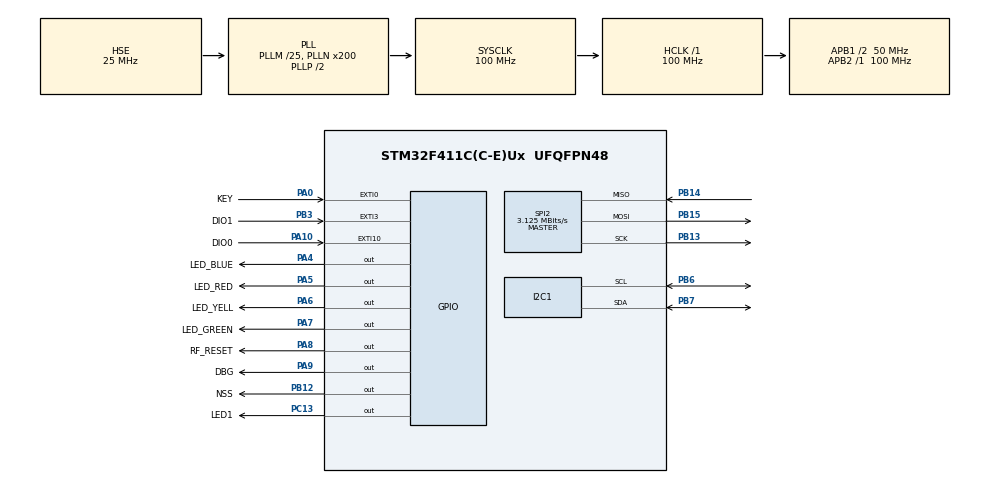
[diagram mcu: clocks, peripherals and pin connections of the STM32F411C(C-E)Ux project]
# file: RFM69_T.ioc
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Dma.Request0=SPI2_RX
Dma.Request1=SPI2_TX
Dma.SPI2_RX.0.Direction=DMA_PERIPH_TO_MEMORY
Dma.SPI2_RX.0.FIFOMode=DMA_FIFOMODE_DISABLE
Dma.SPI2_RX.0.Instance=DMA1_Stream3
Dma.SPI2_RX.0.MemDataAlignment=DMA_MDATAALIGN_BYTE
Dma.SPI2_RX.0.MemInc=DMA_MINC_ENABLE
Dma.SPI2_RX.0.Mode=DMA_NORMAL
Dma.SPI2_RX.0.PeriphDataAlignment=DMA_PDATAALIGN_BYTE
Dma.SPI2_RX.0.PeriphInc=DMA_PINC_DISABLE
Dma.SPI2_RX.0.Priority=DMA_PRIORITY_VERY_HIGH
Dma.SPI2_TX.1.Direction=DMA_MEMORY_TO_PERIPH
Dma.SPI2_TX.1.FIFOMode=DMA_FIFOMODE_DISABLE
Dma.SPI2_TX.1.Instance=DMA1_Stream4
Dma.SPI2_TX.1.MemDataAlignment=DMA_MDATAALIGN_BYTE
Dma.SPI2_TX.1.MemInc=DMA_MINC_ENABLE
Dma.SPI2_TX.1.Mode=DMA_NORMAL
Dma.SPI2_TX.1.PeriphDataAlignment=DMA_PDATAALIGN_BYTE
Dma.SPI2_TX.1.PeriphInc=DMA_PINC_DISABLE
Dma.SPI2_TX.1.Priority=DMA_PRIORITY_VERY_HIGH
FREERTOS.BinarySemaphores01=SemaphoreKEY,Dynamic,NULL;SemDIO_RF69,Static,SemDIO_RF69ControlBlock;SemTimer_RF69,Static,SemTimer_RF69ControlBlock
FREERTOS.HEAP_NUMBER=5
FREERTOS.Mutexes01=RF_Mutex,Static,RF_MutexControlBlock
FREERTOS.Queues01=QueueBufRxValid,1,uint8_t,0,Static,QueueBufRxValidBuffer,QueueBufRxValidControlBlock
FREERTOS.Tasks01=defaultTask,24,128,StartDefaultTask,Default,NULL,Static,defaultTaskBuffer,defaultTaskControlBlock;InitTask,40,512,StartInitTask,Default,NULL,Dynamic,NULL,NULL;RadioTask,24,512,StartRadioTask,Default,NULL,Static,RadioTaskBuffer,RadioTaskControlBlock;TaskKey,24,128,StartTaskKey,Default,NULL,Dynamic,NULL,NULL;TaskDIO_RF69,48,256,StartDIO_RF69,As weak,NULL,Static,DIO_RF69Buffer,DIO_RF69ControlBlock;TaskTIM_RF69,49,256,StartTaskTIM_RF69,Default,NULL,Static,TaskTIM_RF69Buffer,TaskTIM_RF69ControlBlock;TaskRF69_Recive,25,256,StartTaskRF69_Recive,As weak,NULL,Static,TaskRF69_ReciveBuffer,TaskRF69_ReciveControlBlock
I2C1.I2C_Mode=I2C_Fast
Mcu.Family=STM32F4
Mcu.Name=STM32F411C(C-E)Ux
Mcu.Package=UFQFPN48
NVIC.DMA1_Stream3_IRQn=true\:14\:0\:true\:false\:true\:true\:false\:true
NVIC.DMA1_Stream4_IRQn=true\:14\:0\:true\:false\:true\:true\:false\:true
NVIC.EXTI0_IRQn=true\:6\:0\:true\:false\:true\:true\:true\:true
NVIC.EXTI15_10_IRQn=true\:12\:0\:true\:false\:true\:true\:true\:true
NVIC.EXTI3_IRQn=true\:12\:0\:true\:false\:true\:true\:true\:true
NVIC.PriorityGroup=NVIC_PRIORITYGROUP_4
NVIC.SPI2_IRQn=true\:13\:0\:true\:false\:true\:true\:true\:true
NVIC.TIM1_TRG_COM_TIM11_IRQn=true\:0\:0\:false\:false\:true\:false\:false\:true
NVIC.TIM1_UP_TIM10_IRQn=true\:10\:0\:true\:false\:true\:true\:true\:true
NVIC.TimeBase=TIM1_TRG_COM_TIM11_IRQn
NVIC.TimeBaseIP=TIM11
PA0-WKUP.GPIO_Label=KEY
PA0-WKUP.GPIO_ModeDefaultEXTI=GPIO_MODE_IT_RISING_FALLING
PA0-WKUP.GPIO_PuPd=GPIO_PULLUP
PA0-WKUP.Signal=GPXTI0
PA10.GPIO_Label=DIO0
PA10.GPIO_PuPd=GPIO_PULLDOWN
PA10.Signal=GPXTI10
PA13.Mode=Serial_Wire
PA13.Signal=SYS_JTMS-SWDIO
PA14.Mode=Serial_Wire
PA14.Signal=SYS_JTCK-SWCLK
PA4.GPIO_Label=LED_BLUE
PA4.GPIO_ModeDefaultOutputPP=GPIO_MODE_OUTPUT_OD
PA4.GPIO_Speed=GPIO_SPEED_FREQ_LOW
PA4.PinState=GPIO_PIN_SET
PA4.Signal=GPIO_Output
PA5.GPIO_Label=LED_RED
PA5.GPIO_ModeDefaultOutputPP=GPIO_MODE_OUTPUT_OD
PA5.GPIO_Speed=GPIO_SPEED_FREQ_LOW
PA5.PinState=GPIO_PIN_SET
PA5.Signal=GPIO_Output
PA6.GPIO_Label=LED_YELL
PA6.GPIO_ModeDefaultOutputPP=GPIO_MODE_OUTPUT_OD
PA6.GPIO_Speed=GPIO_SPEED_FREQ_LOW
PA6.PinState=GPIO_PIN_SET
PA6.Signal=GPIO_Output
PA7.GPIO_Label=LED_GREEN
PA7.GPIO_ModeDefaultOutputPP=GPIO_MODE_OUTPUT_OD
PA7.PinState=GPIO_PIN_SET
PA7.Signal=GPIO_Output
PA8.GPIO_Label=RF_RESET
PA8.GPIO_Speed=GPIO_SPEED_FREQ_VERY_HIGH
PA8.Signal=GPIO_Output
PA9.GPIO_Label=DBG
PA9.GPIO_Speed=GPIO_SPEED_FREQ_VERY_HIGH
PA9.PinState=GPIO_PIN_RESET
PA9.Signal=GPIO_Output
PB12.GPIO_Label=NSS
PB12.GPIO_Speed=GPIO_SPEED_FREQ_VERY_HIGH
PB12.PinState=GPIO_PIN_SET
PB12.Signal=GPIO_Output
PB13.Mode=Full_Duplex_Master
PB13.Signal=SPI2_SCK
PB14.Mode=Full_Duplex_Master
PB14.Signal=SPI2_MISO
PB15.Mode=Full_Duplex_Master
PB15.Signal=SPI2_MOSI
PB3.GPIO_Label=DIO1
PB3.GPIO_ModeDefaultEXTI=GPIO_MODE_IT_RISING_FALLING
PB3.GPIO_PuPd=GPIO_PULLDOWN
PB3.Signal=GPXTI3
PB6.GPIO_Pu=GPIO_PULLUP
PB6.Mode=I2C
PB6.Signal=I2C1_SCL
PB7.GPIO_Pu=GPIO_PULLUP
PB7.Mode=I2C
PB7.Signal=I2C1_SDA
PC13-ANTI_TAMP.GPIO_Label=LED1
PC13-ANTI_TAMP.GPIO_ModeDefaultOutputPP=GPIO_MODE_OUTPUT_OD
PC13-ANTI_TAMP.PinState=GPIO_PIN_SET
PC13-ANTI_TAMP.Signal=GPIO_Output
PC14-OSC32_IN.Mode=LSE-External-Oscillator
PC14-OSC32_IN.Signal=RCC_OSC32_IN
PC15-OSC32_OUT.Mode=LSE-External-Oscillator
PC15-OSC32_OUT.Signal=RCC_OSC32_OUT
PH0\ -\ OSC_IN.Mode=HSE-External-Oscillator
PH0\ -\ OSC_IN.Signal=RCC_OSC_IN
PH1\ -\ OSC_OUT.Mode=HSE-External-Oscillator
PH1\ -\ OSC_OUT.Signal=RCC_OSC_OUT
ProjectManager.HeapSize=0x200
ProjectManager.StackSize=0x400
ProjectManager.TargetToolchain=MDK-ARM V5.27
RCC.48MHZClocksFreq_Value=50000000
RCC.AHBFreq_Value=100000000
RCC.APB1CLKDivider=RCC_HCLK_DIV2
RCC.APB1Freq_Value=50000000
RCC.APB1TimFreq_Value=100000000
RCC.APB2Freq_Value=100000000
RCC.APB2TimFreq_Value=100000000
RCC.CortexFreq_Value=100000000
RCC.HCLKFreq_Value=100000000
RCC.HSE_VALUE=25000000
RCC.HSI_VALUE=16000000
RCC.PLLM=25
RCC.PLLN=200
RCC.PLLSourceVirtual=RCC_PLLSOURCE_HSE
RCC.SYSCLKFreq_VALUE=100000000
RCC.SYSCLKSource=RCC_SYSCLKSOURCE_PLLCLK
RCC.VCOOutputFreq_Value=200000000
RTC.Format=RTC_FORMAT_BCD
RTC.Hours=20
RTC.Minutes=20
RTC.Seconds=34
SPI2.BaudRatePrescaler=SPI_BAUDRATEPRESCALER_16
SPI2.CalculateBaudRate=3.125 MBits/s
SPI2.Direction=SPI_DIRECTION_2LINES
SPI2.Mode=SPI_MODE_MASTER
SPI2.VirtualType=VM_MASTER
TIM10.AutoReloadPreload=TIM_AUTORELOAD_PRELOAD_ENABLE
TIM10.Period=9999
TIM10.Prescaler=999
VP_CRC_VS_CRC.Mode=CRC_Activate
VP_FREERTOS_VS_CMSIS_V2.Mode=CMSIS_V2
VP_RTC_VS_RTC_Activate.Mode=RTC_Enabled
VP_RTC_VS_RTC_Calendar.Mode=RTC_Calendar
VP_SYS_VS_tim11.Mode=TIM11
VP_TIM10_VS_ClockSourceINT.Mode=Enable_Timer
VP_TIM10_VS_OPM.Mode=OPM_bit
board=custom

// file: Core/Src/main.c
/* USER CODE BEGIN Header */
/**
  ******************************************************************************
  * @file           : main.c
  * @brief          : Main program body
  ******************************************************************************
  * @attention
  *
  * <h2><center>&copy; Copyright (c) 2021 STMicroelectronics.
  * All rights reserved.</center></h2>
  *
  * This software component is licensed by ST under Ultimate Liberty license
  * SLA0044, the "License"; You may not use this file except in compliance with
  * the License. You may obtain a copy of the License at:
  *                             www.st.com/SLA0044
  *
  ******************************************************************************
  */
/* USER CODE END Header */
#include "main.h"
#include "cmsis_os.h"
#include "crc.h"
#include "dma.h"
#include "i2c.h"
#include "rtc.h"
#include "spi.h"
#include "tim.h"
#include "gpio.h"

/* USER CODE BEGIN Includes */
#include "RFM69_Config.h"
#include "RFM69_.h"
/* USER CODE END Includes */

/* USER CODE BEGIN PV */
extern SPI_HandleTypeDef _SPI_HANDLE;
extern DMA_HandleTypeDef _SPI_DMA_RX_HANDLE;
extern DMA_HandleTypeDef _SPI_DMA_TX_HANDLE;
extern TIM_HandleTypeDef _TIMER_WATCH_HANDLE;
extern DMA_HandleTypeDef hdma_spi2_rx;
extern void TIM_IRQHandler(TIM_HandleTypeDef *htim);
/* USER CODE END PV */

void SystemClock_Config(void);
void MX_FREERTOS_Init(void);

int main(void)
{

  /* MCU Configuration--------------------------------------------------------*/

  /* Reset of all peripherals, Initializes the Flash interface and the Systick. */
  HAL_Init();

  /* Configure the system clock */
  SystemClock_Config();

  /* Initialize all configured peripherals */
  MX_GPIO_Init();
  MX_DMA_Init();
  MX_CRC_Init();
  MX_RTC_Init();
  MX_SPI2_Init();
  MX_TIM10_Init();
  MX_I2C1_Init();

  /* Init scheduler */
  osKernelInitialize();  /* Call init function for freertos objects (in freertos.c) */
  MX_FREERTOS_Init();
  /* Start scheduler */
  osKernelStart();

  /* We should never get here as control is now taken by the scheduler */
  /* Infinite loop */
  while (1)
  {

  }
}

void SystemClock_Config(void)
{
  RCC_OscInitTypeDef RCC_OscInitStruct = {0};
  RCC_ClkInitTypeDef RCC_ClkInitStruct = {0};

  /** Configure the main internal regulator output voltage
  */
  __HAL_RCC_PWR_CLK_ENABLE();
  __HAL_PWR_VOLTAGESCALING_CONFIG(PWR_REGULATOR_VOLTAGE_SCALE1);
  /** Initializes the RCC Oscillators according to the specified parameters
  * in the RCC_OscInitTypeDef structure.
  */
  RCC_OscInitStruct.OscillatorType = RCC_OSCILLATORTYPE_LSI|RCC_OSCILLATORTYPE_HSE;
  RCC_OscInitStruct.HSEState = RCC_HSE_ON;
  RCC_OscInitStruct.LSIState = RCC_LSI_ON;
  RCC_OscInitStruct.PLL.PLLState = RCC_PLL_ON;
  RCC_OscInitStruct.PLL.PLLSource = RCC_PLLSOURCE_HSE;
  RCC_OscInitStruct.PLL.PLLM = 25;
  RCC_OscInitStruct.PLL.PLLN = 200;
  RCC_OscInitStruct.PLL.PLLP = RCC_PLLP_DIV2;
  RCC_OscInitStruct.PLL.PLLQ = 4;
  if (HAL_RCC_OscConfig(&RCC_OscInitStruct) != HAL_OK)
  {
    Error_Handler();
  }
  /** Initializes the CPU, AHB and APB buses clocks
  */
  RCC_ClkInitStruct.ClockType = RCC_CLOCKTYPE_HCLK|RCC_CLOCKTYPE_SYSCLK
                              |RCC_CLOCKTYPE_PCLK1|RCC_CLOCKTYPE_PCLK2;
  RCC_ClkInitStruct.SYSCLKSource = RCC_SYSCLKSOURCE_PLLCLK;
  RCC_ClkInitStruct.AHBCLKDivider = RCC_SYSCLK_DIV1;
  RCC_ClkInitStruct.APB1CLKDivider = RCC_HCLK_DIV2;
  RCC_ClkInitStruct.APB2CLKDivider = RCC_HCLK_DIV1;

  if (HAL_RCC_ClockConfig(&RCC_ClkInitStruct, FLASH_LATENCY_3) != HAL_OK)
  {
    Error_Handler();
  }
}

void HAL_TIM_PeriodElapsedCallback(TIM_HandleTypeDef *htim)
{
  /* USER CODE BEGIN Callback 0 */
	if(htim->Instance == _TIMER_WATCH_HANDLE.Instance)
	{
		TIM_IRQHandler(htim);
//		RF69_CallbackWatchTimer();
	}

  /* USER CODE END Callback 0 */
  if (htim->Instance == TIM11) {
    HAL_IncTick();
  }
}

void Error_Handler(void)
{
  /* USER CODE BEGIN Error_Handler_Debug */
  /* User can add his own implementation to report the HAL error return state */
  __disable_irq();
  while (1)
  {
//	  printf("Wrong parameters value: file %s on line %d\r\n", "file", 1) ;
  }
  /* USER CODE END Error_Handler_Debug */
}

/************************ (C) COPYRIGHT STMicroelectronics *****END OF FILE****/

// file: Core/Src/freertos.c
/* USER CODE BEGIN Header */
/**
	******************************************************************************
	* File Name          : freertos.c
	* Description        : Code for freertos applications
	******************************************************************************
	* @attention
	*
	* <h2><center>&copy; Copyright (c) 2021 STMicroelectronics.
	* All rights reserved.</center></h2>
	*
	* This software component is licensed by ST under Ultimate Liberty license
	* SLA0044, the "License"; You may not use this file except in compliance with
	* the License. You may obtain a copy of the License at:
	*                             www.st.com/SLA0044
	*
	******************************************************************************
	*/
//
/* USER CODE END Header */

#include "FreeRTOS.h"
#include "task.h"
#include "main.h"
#include "cmsis_os.h"

/* USER CODE BEGIN Includes */
#include <string.h>
#include <queue.h>
#include <semphr.h>

#include "MyAppConfig.h"
#include "RFM69_Config.h"
#include <stm32f4xx_hal_dma.h>
#include "RFM69_.h"
#include "RF69_ACK.h"
#include "RND_GEN.h"
#include "AES_GEN.h"
#include "AES_KEY.h"
#include "TIMER_C.h"
#include "ssd1306.h"
#include "RFM69_FreeRTOS.h"
/* USER CODE END Includes */

typedef StaticTask_t osStaticThreadDef_t;
typedef StaticQueue_t osStaticMessageQDef_t;
typedef StaticSemaphore_t osStaticMutexDef_t;
typedef StaticSemaphore_t osStaticSemaphoreDef_t;

/* USER CODE BEGIN Variables */
/******************************************************************************/

volatile static uint32_t _good = 0;
volatile static uint32_t _bad = 0;
volatile static uint32_t _all = 0;
volatile static float _percent = 0;
//volatile static uint16_t _DioPin = 0;
volatile static bool _BufferRX_Valid = false;
/******************************************************************************/
//extern bool _rxBufValid;
/******************************************************************************/

#if _APP_MODE == 1U //Fixed Packet
extern const uint8_t _LMessage[256];
uint8_t buf[RF69_MAX_FIFO_LENGHT];
#endif
#if _APP_MODE == 2U //Var Packet
extern const uint8_t _LMessage[256];
uint8_t buf[256];
#endif
#if _APP_MODE == 3U //Unlim Packet
extern const uint8_t  _UMessage[512];
uint8_t buf[512];
#endif
#if _APP_MODE == 4U //Fixed Packet with ACK
extern const uint8_t _LMessage[256];
uint8_t buf[RF69_MAX_FIFO_LENGHT];
#endif
#if _APP_MODE == 5U //Var Packet with ACK
extern const uint8_t _LMessage[256];
uint8_t buf[256];
#endif
#if _APP_MODE == 6U //Unlim Packet with ACK
extern const uint8_t  _UMessage[512];
uint8_t buf[512];

volatile static uint8_t EncryptMessage[PLAINTEXT_LENGTH];
volatile static uint8_t OutputMessage[PLAINTEXT_LENGTH];
volatile static uint32_t OutputMessageLength = 0;

extern SPI_HandleTypeDef _SPI_HANDLE;
extern DMA_HandleTypeDef _SPI_DMA_RX_HANDLE;
extern DMA_HandleTypeDef _SPI_DMA_TX_HANDLE;
extern TIM_HandleTypeDef _TIMER_WATCH_HANDLE;
extern DMA_HandleTypeDef hdma_spi2_rx;
#endif

/* USER CODE END Variables */
/* Definitions for defaultTask */
osThreadId_t defaultTaskHandle;
uint32_t defaultTaskBuffer[ 128 ];
osStaticThreadDef_t defaultTaskControlBlock;
const osThreadAttr_t defaultTask_attributes = {
  .name = "defaultTask",
  .cb_mem = &defaultTaskControlBlock,
  .cb_size = sizeof(defaultTaskControlBlock),
  .stack_mem = &defaultTaskBuffer[0],
  .stack_size = sizeof(defaultTaskBuffer),
  .priority = (osPriority_t) osPriorityNormal,
};
/* Definitions for InitTask */
osThreadId_t InitTaskHandle;
const osThreadAttr_t InitTask_attributes = {
  .name = "InitTask",
  .stack_size = 512 * 4,
  .priority = (osPriority_t) osPriorityHigh,
};
/* Definitions for RadioTask */
osThreadId_t RadioTaskHandle;
uint32_t RadioTaskBuffer[ 512 ];
osStaticThreadDef_t RadioTaskControlBlock;
const osThreadAttr_t RadioTask_attributes = {
  .name = "RadioTask",
  .cb_mem = &RadioTaskControlBlock,
  .cb_size = sizeof(RadioTaskControlBlock),
  .stack_mem = &RadioTaskBuffer[0],
  .stack_size = sizeof(RadioTaskBuffer),
  .priority = (osPriority_t) osPriorityNormal,
};
/* Definitions for TaskKey */
osThreadId_t TaskKeyHandle;
const osThreadAttr_t TaskKey_attributes = {
  .name = "TaskKey",
  .stack_size = 128 * 4,
  .priority = (osPriority_t) osPriorityNormal,
};
/* Definitions for TaskDIO_RF69 */
osThreadId_t TaskDIO_RF69Handle;
uint32_t DIO_RF69Buffer[ 256 ];
osStaticThreadDef_t DIO_RF69ControlBlock;
const osThreadAttr_t TaskDIO_RF69_attributes = {
  .name = "TaskDIO_RF69",
  .cb_mem = &DIO_RF69ControlBlock,
  .cb_size = sizeof(DIO_RF69ControlBlock),
  .stack_mem = &DIO_RF69Buffer[0],
  .stack_size = sizeof(DIO_RF69Buffer),
  .priority = (osPriority_t) osPriorityRealtime,
};
/* Definitions for TaskTIM_RF69 */
osThreadId_t TaskTIM_RF69Handle;
uint32_t TaskTIM_RF69Buffer[ 256 ];
osStaticThreadDef_t TaskTIM_RF69ControlBlock;
const osThreadAttr_t TaskTIM_RF69_attributes = {
  .name = "TaskTIM_RF69",
  .cb_mem = &TaskTIM_RF69ControlBlock,
  .cb_size = sizeof(TaskTIM_RF69ControlBlock),
  .stack_mem = &TaskTIM_RF69Buffer[0],
  .stack_size = sizeof(TaskTIM_RF69Buffer),
  .priority = (osPriority_t) osPriorityRealtime1,
};
/* Definitions for TaskRF69_Recive */
osThreadId_t TaskRF69_ReciveHandle;
uint32_t TaskRF69_ReciveBuffer[ 256 ];
osStaticThreadDef_t TaskRF69_ReciveControlBlock;
const osThreadAttr_t TaskRF69_Recive_attributes = {
  .name = "TaskRF69_Recive",
  .cb_mem = &TaskRF69_ReciveControlBlock,
  .cb_size = sizeof(TaskRF69_ReciveControlBlock),
  .stack_mem = &TaskRF69_ReciveBuffer[0],
  .stack_size = sizeof(TaskRF69_ReciveBuffer),
  .priority = (osPriority_t) osPriorityNormal1,
};
/* Definitions for QueueBufRxValid */
osMessageQueueId_t QueueBufRxValidHandle;
uint8_t QueueBufRxValidBuffer[ 1 * sizeof( uint8_t ) ];
osStaticMessageQDef_t QueueBufRxValidControlBlock;
const osMessageQueueAttr_t QueueBufRxValid_attributes = {
  .name = "QueueBufRxValid",
  .cb_mem = &QueueBufRxValidControlBlock,
  .cb_size = sizeof(QueueBufRxValidControlBlock),
  .mq_mem = &QueueBufRxValidBuffer,
  .mq_size = sizeof(QueueBufRxValidBuffer)
};
/* Definitions for RF_Mutex */
osMutexId_t RF_MutexHandle;
osStaticMutexDef_t RF_MutexControlBlock;
const osMutexAttr_t RF_Mutex_attributes = {
  .name = "RF_Mutex",
  .cb_mem = &RF_MutexControlBlock,
  .cb_size = sizeof(RF_MutexControlBlock),
};
/* Definitions for SemaphoreKEY */
osSemaphoreId_t SemaphoreKEYHandle;
const osSemaphoreAttr_t SemaphoreKEY_attributes = {
  .name = "SemaphoreKEY"
};
/* Definitions for SemDIO_RF69 */
osSemaphoreId_t SemDIO_RF69Handle;
osStaticSemaphoreDef_t SemDIO_RF69ControlBlock;
const osSemaphoreAttr_t SemDIO_RF69_attributes = {
  .name = "SemDIO_RF69",
  .cb_mem = &SemDIO_RF69ControlBlock,
  .cb_size = sizeof(SemDIO_RF69ControlBlock),
};
/* Definitions for SemTimer_RF69 */
osSemaphoreId_t SemTimer_RF69Handle;
osStaticSemaphoreDef_t SemTimer_RF69ControlBlock;
const osSemaphoreAttr_t SemTimer_RF69_attributes = {
  .name = "SemTimer_RF69",
  .cb_mem = &SemTimer_RF69ControlBlock,
  .cb_size = sizeof(SemTimer_RF69ControlBlock),
};

/* USER CODE BEGIN FunctionPrototypes */
void PrintText(uint8_t* pBuf, uint8_t lenght);
//void EXTI0_IRQHandler(void);
void TIM_IRQHandler(TIM_HandleTypeDef *htim);
/* USER CODE END FunctionPrototypes */

void StartDefaultTask(void *argument);
void StartInitTask(void *argument);
void StartRadioTask(void *argument);
void StartTaskKey(void *argument);
void StartDIO_RF69(void *argument);
void StartTaskTIM_RF69(void *argument);
void StartTaskRF69_Recive(void *argument);

void MX_FREERTOS_Init(void); /* (MISRA C 2004 rule 8.1) */

void MX_FREERTOS_Init(void) {
  /* Create the mutex(es) */
  /* creation of RF_Mutex */
  RF_MutexHandle = osMutexNew(&RF_Mutex_attributes);

  /* Create the semaphores(s) */
  /* creation of SemaphoreKEY */
  SemaphoreKEYHandle = osSemaphoreNew(1, 1, &SemaphoreKEY_attributes);

  /* creation of SemDIO_RF69 */
  SemDIO_RF69Handle = osSemaphoreNew(1, 1, &SemDIO_RF69_attributes);

  /* creation of SemTimer_RF69 */
  SemTimer_RF69Handle = osSemaphoreNew(1, 1, &SemTimer_RF69_attributes);

  /* Create the queue(s) */
  /* creation of QueueBufRxValid */
  QueueBufRxValidHandle = osMessageQueueNew (1, sizeof(uint8_t), &QueueBufRxValid_attributes);

  /* Create the thread(s) */
  /* creation of defaultTask */
  defaultTaskHandle = osThreadNew(StartDefaultTask, NULL, &defaultTask_attributes);

  /* creation of InitTask */
  InitTaskHandle = osThreadNew(StartInitTask, NULL, &InitTask_attributes);

  /* creation of RadioTask */
  RadioTaskHandle = osThreadNew(StartRadioTask, NULL, &RadioTask_attributes);

  /* creation of TaskKey */
  TaskKeyHandle = osThreadNew(StartTaskKey, NULL, &TaskKey_attributes);

  /* creation of TaskDIO_RF69 */
  TaskDIO_RF69Handle = osThreadNew(StartDIO_RF69, NULL, &TaskDIO_RF69_attributes);

  /* creation of TaskTIM_RF69 */
  TaskTIM_RF69Handle = osThreadNew(StartTaskTIM_RF69, NULL, &TaskTIM_RF69_attributes);

  /* creation of TaskRF69_Recive */
  TaskRF69_ReciveHandle = osThreadNew(StartTaskRF69_Recive, NULL, &TaskRF69_Recive_attributes);

}

void StartDefaultTask(void *argument)
{
  /* USER CODE BEGIN StartDefaultTask */
	/* Infinite loop */
	for(;;)
	{
		vTaskDelay(1);
	}
  /* USER CODE END StartDefaultTask */
}

void StartInitTask(void *argument)
{
  /* USER CODE BEGIN StartInitTask */
  /* Infinite loop */
	osMutexWait(RF_MutexHandle, osWaitForever);
	RF69_Init();
	InitRND();

	osMutexRelease(RF_MutexHandle);
	AES_CTR_Set_Key(AK_Key128, CRL_AES128_KEY);
	 vTaskDelete(InitTaskHandle);
  /* USER CODE END StartInitTask */
}

void StartRadioTask(void *argument)
{
  /* USER CODE BEGIN StartRadioTask */
	/* Infinite loop */

	volatile static bool _flag= 0;
	for(;;)
	{
		osMutexWait(RF_MutexHandle, osWaitForever);
#if _APP_MODE == 1U //Fixed Packet
		RF69_PacketMode(_PACKET_FIXED);
		_flag = RF69_Send ((uint8_t*)_LMessage, 28);
		_all++;
		if(_flag)
		{
			LED_GREEN_ON;
			_good++;
		}
		else
		{
			LED_RED_ON;
			_bad;
		}
		_percent = _bad/((float)_all/100);

#endif
#if _APP_MODE == 2U //Variable Packet
//		_flag = RF69_WaitAvailableTimeout(100);
		const  uint8_t size = 253;
		_all++;
		RF69_PacketMode(_PACKET_VARIABLE);
		RF69_SendVariablePacket ((uint8_t*)_LMessage, size);
		if(_flag)
		{
			LED_GREEN_ON;
			_good++;
		}
		else
		{
			LED_RED_ON;
			_bad;
		}
		_percent = _bad/((float)_all/100);
//extern bool SendACK(uint8_t *buf, uint16_t len);

//	SendACK((uint8_t*)_LMessage, size);

#endif

#if _APP_MODE == 3U //Unlimited Packet
//		_flag = RF69_WaitAvailableTimeout(100);
		_all++;
		RF69_SendUnlimitedLengthPacket ((uint8_t*)_UMessage, sizeof(_UMessage));
		if(_flag)
		{
			LED_GREEN_ON;
			_good++;
		}
		else
		{
			LED_RED_ON;
			_bad;
		}
		_percent = _bad/((float)_all/100);

#endif
#if _APP_MODE == 4U //Fix Packet with ACK
		_all++;
		_flag = SendFixACK((uint8_t*)_LMessage, 24);
		if(_flag)
		{
			LED_GREEN_ON;
			_good++;
		}
		else
		{
			LED_RED_ON;
			_bad++;
		}

#endif

#if _APP_MODE == 5U //Var Packet with ACK
		_all++;
		_flag = SendVarACK((uint8_t*) _LMessage, 230);
		if(_flag)
		{
			LED_GREEN_ON;
			_good++;
		}
		else
		{
			LED_RED_ON;
			_bad++;
		}
#endif
#if _APP_MODE == 6U //Unlim Packet with ACK
		_all++;
		_flag = SendUnlimACK((uint8_t*) _UMessage, 500);
		if(_flag)
		{
			LED_GREEN_ON;
			_good++;
		}
		else
		{
			LED_RED_ON;
			_bad++;
		}
#endif
/******************************************************************************/
		osMutexRelease(RF_MutexHandle);

//		_timer_c_StartTimer(10000);
		 vTaskDelay(20);

		LED_BLUE_OFF;
		LED_GREEN_OFF;
		LED_RED_OFF;
		LED_YELL_OFF;
		vTaskDelay(300);

 }

  /* USER CODE END StartRadioTask */
}

void StartTaskKey(void *argument)
{
  /* USER CODE BEGIN StartTaskKey */
  /* Infinite loop */
  for(;;)
  {
	  xSemaphoreTake(SemaphoreKEYHandle, portMAX_DELAY );
	  osDelay(100);
	  if(HAL_GPIO_ReadPin(KEY_GPIO_Port, KEY_Pin) == GPIO_PIN_SET)
	  {
		  LED1_ON;
		  osDelay(20);
		  LED1_OFF;
//		  osDelay(180);
		  DBG_ON;
	  }
	  else
	  {
		  LED1_ON;
		  osDelay(20);
		  LED1_OFF;
//		  osDelay(180);
//		  LED1_OFF;
		  DBG_OFF;
	  }
  }
  /* USER CODE END StartTaskKey */
}

__weak void StartDIO_RF69(void *argument)
{
  /* USER CODE BEGIN StartDIO_RF69 */
	/* Infinite loop */
//	static portBASE_TYPE xHigherPriorityTaskWoken;
//	xHigherPriorityTaskWoken = pdFALSE;
	for(;;)
	{

		osDelay(1);
	}
  /* USER CODE END StartDIO_RF69 */
}

void StartTaskTIM_RF69(void *argument)
{
  /* USER CODE BEGIN StartTaskTIM_RF69 */
	/* Infinite loop */
	for(;;)
	{
		xSemaphoreTake(SemDIO_RF69Handle, portMAX_DELAY );
		RF69_CallbackWatchTimer();
//		osDelay(1);
	}
  /* USER CODE END StartTaskTIM_RF69 */
}

__weak void StartTaskRF69_Recive(void *argument)
{
  for(;;)
  {
    osDelay(1);
  }
}

/* USER CODE BEGIN Application */
void HAL_GPIO_EXTI_Callback(uint16_t GPIO_Pin)
{
	static portBASE_TYPE xHigherPriorityTaskWoken;
	xHigherPriorityTaskWoken = pdFALSE;
///* Prevent unused argument(s) compilation warning */

	RF69_OS_GPIO_EXTI_Callback(GPIO_Pin);
	if(GPIO_Pin == KEY_Pin)
	{
		xSemaphoreGiveFromISR(SemaphoreKEYHandle, &xHigherPriorityTaskWoken );
		portEND_SWITCHING_ISR(xHigherPriorityTaskWoken);
	}
	UNUSED(GPIO_Pin);

}

void TIM_IRQHandler(TIM_HandleTypeDef *htim)
{
	static portBASE_TYPE xHigherPriorityTaskWoken;
	xHigherPriorityTaskWoken = pdFALSE;
	xSemaphoreGiveFromISR(SemTimer_RF69Handle, &xHigherPriorityTaskWoken );
	portEND_SWITCHING_ISR(xHigherPriorityTaskWoken);
	UNUSED(htim);
}
void PrintText(uint8_t* pBuf, uint8_t lenght)
{
}
/* USER CODE END Application */

/************************ (C) COPYRIGHT STMicroelectronics *****END OF FILE****/
